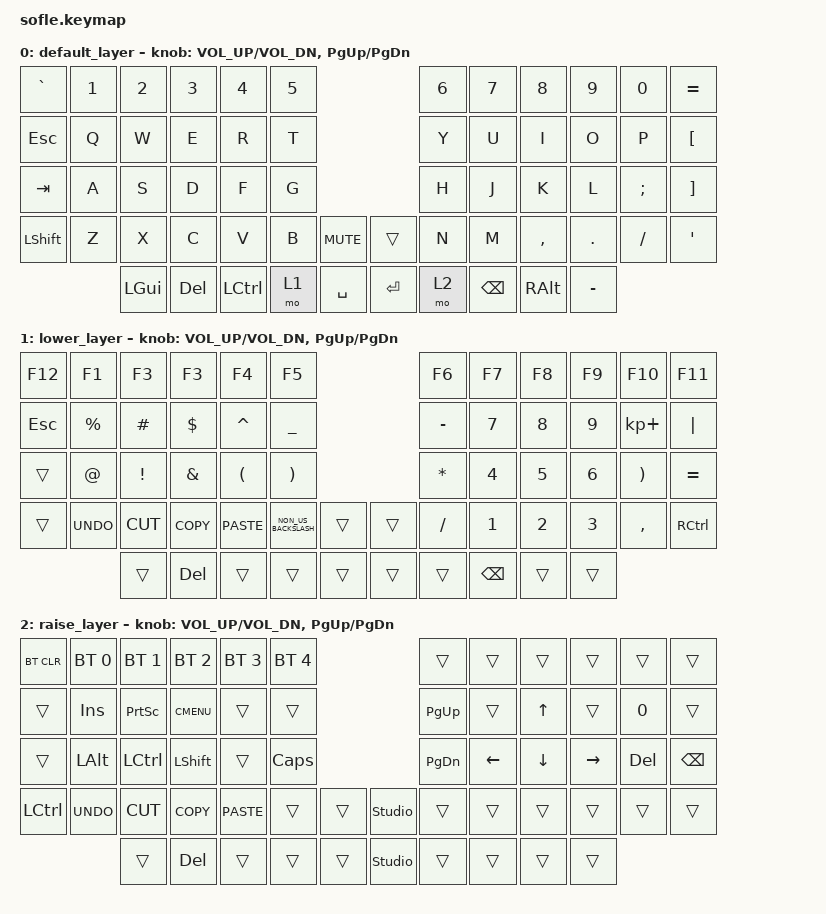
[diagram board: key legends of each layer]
/*
 * Copyright (c) 2020 The ZMK Contributors
 *
 * SPDX-License-Identifier: MIT
 */

#include <behaviors.dtsi>
#include <dt-bindings/zmk/bt.h>
#include <dt-bindings/zmk/keys.h>

/*
 * Temporarily here because nice nano v2 spi is not defined on ZMK Yet
 * Source: https://github.com/zmkfirmware/zmk/blob/main/app/boards/shields/reviung41/boards/nice_nano.overlay
 * GitHub Issue: https://github.com/zmkfirmware/zmk/issues/885
 */

/ {
    keymap {
        compatible = "zmk,keymap";

        default_layer {
            // ------------------------------------------------------------------------------------------------------------------
            // |  `    |  1  |  2  |  3   |  4   |  5   |                         |  6   |  7    |  8    |  9   |   0   |       |
            // |  ESC  |  Q  |  W  |  E   |  R   |  T   |                         |  Y   |  U    |  I    |  O   |   P   | BKSPC |
            // |  TAB  |  A  |  S  |  D   |  F   |  G   |                         |  H   |  J    |  K    |  L   |   ;   |   '   |
            // | SHIFT |  Z  |  X  |  C   |  V   |  B   |  MUTE  |        | ExtPw |  N   |  M    |  ,    |  .   |   /   | SHIFT |
            //               | GUI | ALT  | CTRL | LOWER|  ENTER |        | SPACE | RAISE| CTRL  | ALT   | GUI  |

            bindings = <
&kp GRAVE       &kp N1  &kp N2    &kp N3   &kp N4            &kp N5                           &kp N6  &kp N7         &kp N8     &kp N9     &kp N0    &kp EQUAL
&kp ESC         &kp Q   &kp W     &kp E    &kp R             &kp T                            &kp Y   &kp U          &kp I      &kp O      &kp P     &kp LEFT_BRACKET
&kp TAB         &kp A   &kp S     &kp D    &kp F             &kp G                            &kp H   &kp J          &kp K      &kp L      &kp SEMI  &kp RIGHT_BRACKET
&kp LEFT_SHIFT  &kp Z   &kp X     &kp C    &kp V             &kp B   &kp C_MUTE    &trans     &kp N   &kp M          &kp COMMA  &kp DOT    &kp FSLH  &kp SQT
                        &kp LGUI  &kp DEL  &kp LEFT_CONTROL  &mo 1   &kp SPACE     &kp ENTER  &mo 2   &kp BACKSPACE  &kp RALT   &kp MINUS
            >;

            sensor-bindings = <&inc_dec_kp C_VOL_UP C_VOL_DN &inc_dec_kp PG_UP PG_DN>;
        };

        lower_layer {
            // TODO: Some binds are waiting for shifted keycode support.
            // ------------------------------------------------------------------------------------------------------------
            // |       |  F1 |  F2 |  F3  |  F4  |  F5  |                   |  F6  |  F7   |  F8   |  F9  |  F10  |  F11  |
            // | `     |   1 |   2 |   3  |   4  |   5  |                   |   6  |   7   |   8   |   9  |    0  |  F12  |
            // |       |  !  |  @  |  #   |  $   |  %   |                   |  ^   |  &    |  *    |  (   |   )   |   |   |
            // |       |  =  |  -  |  +   |  {   |  }   |        |  |       |  [   |  ]    |  ;    |  :   |   \   |       |
            //               |     |      |      |      |        |  |       |      |       |       |      |

            bindings = <
&kp F12     &kp F1       &kp F3           &kp F3         &kp F4                &kp F5                                   &kp F6        &kp F7         &kp F8        &kp F9        &kp F10      &kp F11
&kp ESCAPE  &kp PERCENT  &kp HASH         &kp DOLLAR     &kp CARET             &kp UNDERSCORE                           &kp MINUS     &kp N7         &kp N8        &kp N9        &kp KP_PLUS  &kp PIPE
&trans      &kp AT_SIGN  &kp EXCLAMATION  &kp AMPERSAND  &kp LEFT_PARENTHESIS  &kp RIGHT_PARENTHESIS                    &kp ASTERISK  &kp NUMBER_4   &kp N5        &kp NUMBER_6  &kp RPAR     &kp EQUAL
&trans      &kp K_UNDO   &kp K_CUT        &kp K_COPY     &kp K_PASTE           &kp NON_US_BACKSLASH   &trans    &trans  &kp SLASH     &kp NUMBER_1   &kp NUMBER_2  &kp NUMBER_3  &kp COMMA    &kp RIGHT_CONTROL
                         &trans           &kp DEL        &trans                &trans                 &trans    &trans  &trans        &kp BACKSPACE  &trans        &trans
            >;

            sensor-bindings = <&inc_dec_kp C_VOL_UP C_VOL_DN &inc_dec_kp PG_UP PG_DN>;
        };

        raise_layer {
            // ------------------------------------------------------------------------------------------------------------
            // |BTCLR| BT1  | BT2  |  BT3  |  BT4  |  BT5 |                  |      |      |       |      |       |       |
            // |     | INS  | PSCR | GUI   |       |      |                  | PGUP |      |   ^   |      |       |       |
            // |     | ALT  | CTRL | SHIFT |       | CAPS |                  | PGDN |   <- |   v   |  ->  |  DEL  | BKSPC |
            // |     | UNDO | CUT  | COPY  | PASTE |      |      |   | STD_U |      |      |       |      |       |       |
            //              |      |       |       |      |      |   |       |      |      |       |      |

            bindings = <
&bt BT_CLR        &bt BT_SEL 0  &bt BT_SEL 1  &bt BT_SEL 2  &bt BT_SEL 3  &bt BT_SEL 4                            &trans     &trans    &trans    &trans     &trans   &trans
&trans            &kp INS       &kp PSCRN     &kp K_CMENU   &trans        &trans                                  &kp PG_UP  &trans    &kp UP    &trans     &kp N0   &trans
&trans            &kp LALT      &kp LCTRL     &kp LSHFT     &trans        &kp CLCK                                &kp PG_DN  &kp LEFT  &kp DOWN  &kp RIGHT  &kp DEL  &kp BSPC
&kp LEFT_CONTROL  &kp K_UNDO    &kp K_CUT     &kp K_COPY    &kp K_PASTE   &trans        &trans    &studio_unlock  &trans     &trans    &trans    &trans     &trans   &trans
                                &trans        &kp DEL       &trans        &trans        &trans    &studio_unlock  &trans     &trans    &trans    &trans
            >;

            sensor-bindings = <&inc_dec_kp C_VOL_UP C_VOL_DN &inc_dec_kp PG_UP PG_DN>;
        };
    };
};
